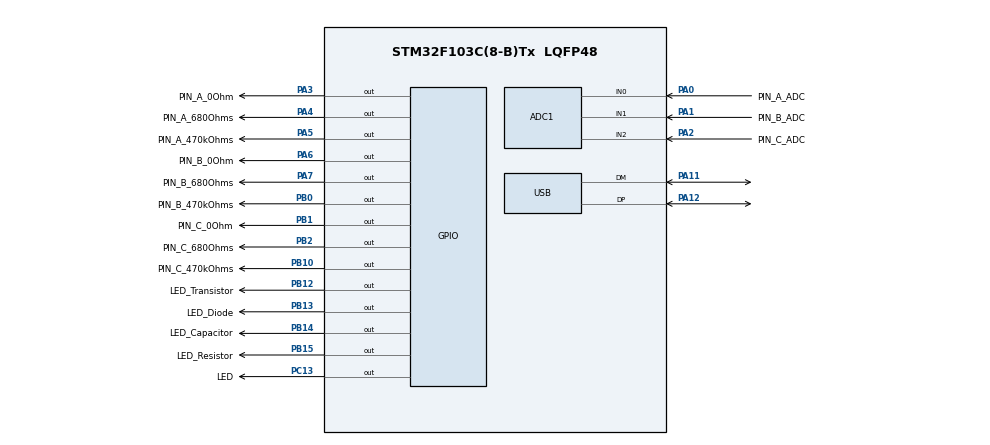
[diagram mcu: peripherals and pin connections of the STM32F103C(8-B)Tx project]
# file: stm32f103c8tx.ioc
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ADC1.Channel-4\#ChannelRegularConversion=ADC_CHANNEL_0
ADC1.Channel-5\#ChannelRegularConversion=ADC_CHANNEL_1
ADC1.Channel-6\#ChannelRegularConversion=ADC_CHANNEL_2
ADC1.EnableRegularConversion=ENABLE
ADC1.NbrOfConversion=3
ADC1.NbrOfConversionFlag=1
ADC1.Rank-4\#ChannelRegularConversion=1
ADC1.Rank-5\#ChannelRegularConversion=2
ADC1.Rank-6\#ChannelRegularConversion=3
ADC1.SamplingTime-4\#ChannelRegularConversion=ADC_SAMPLETIME_1CYCLE_5
ADC1.SamplingTime-5\#ChannelRegularConversion=ADC_SAMPLETIME_1CYCLE_5
ADC1.SamplingTime-6\#ChannelRegularConversion=ADC_SAMPLETIME_1CYCLE_5
ADC1.master=1
Mcu.Family=STM32F1
Mcu.Name=STM32F103C(8-B)Tx
Mcu.Package=LQFP48
NVIC.PriorityGroup=NVIC_PRIORITYGROUP_4
NVIC.TIM3_IRQn=true\:3\:0\:true\:false\:true\:true\:true\:true
NVIC.USB_LP_CAN1_RX0_IRQn=true\:1\:0\:true\:false\:true\:false\:true\:true
PA0-WKUP.GPIO_Label=PIN_A_ADC
PA0-WKUP.Signal=ADCx_IN0
PA1.GPIO_Label=PIN_B_ADC
PA1.Signal=ADCx_IN1
PA11.Mode=Device
PA11.Signal=USB_DM
PA12.Mode=Device
PA12.Signal=USB_DP
PA13.Mode=Serial_Wire
PA13.Signal=SYS_JTMS-SWDIO
PA14.Mode=Serial_Wire
PA14.Signal=SYS_JTCK-SWCLK
PA2.GPIO_Label=PIN_C_ADC
PA2.Signal=ADCx_IN2
PA3.GPIO_Label=PIN_A_0Ohm
PA3.GPIO_ModeDefaultOutputPP=GPIO_MODE_OUTPUT_OD
PA3.GPIO_PuPd=GPIO_NOPULL
PA3.GPIO_Speed=GPIO_SPEED_FREQ_LOW
PA3.PinState=GPIO_PIN_RESET
PA3.Signal=GPIO_Output
PA4.GPIO_Label=PIN_A_680Ohms
PA4.GPIO_ModeDefaultOutputPP=GPIO_MODE_OUTPUT_OD
PA4.GPIO_PuPd=GPIO_NOPULL
PA4.GPIO_Speed=GPIO_SPEED_FREQ_LOW
PA4.PinState=GPIO_PIN_RESET
PA4.Signal=GPIO_Output
PA5.GPIO_Label=PIN_A_470kOhms
PA5.GPIO_ModeDefaultOutputPP=GPIO_MODE_OUTPUT_OD
PA5.GPIO_PuPd=GPIO_NOPULL
PA5.GPIO_Speed=GPIO_SPEED_FREQ_LOW
PA5.PinState=GPIO_PIN_RESET
PA5.Signal=GPIO_Output
PA6.GPIO_Label=PIN_B_0Ohm
PA6.GPIO_ModeDefaultOutputPP=GPIO_MODE_OUTPUT_OD
PA6.GPIO_PuPd=GPIO_NOPULL
PA6.GPIO_Speed=GPIO_SPEED_FREQ_LOW
PA6.PinState=GPIO_PIN_RESET
PA6.Signal=GPIO_Output
PA7.GPIO_Label=PIN_B_680Ohms
PA7.GPIO_ModeDefaultOutputPP=GPIO_MODE_OUTPUT_OD
PA7.GPIO_PuPd=GPIO_NOPULL
PA7.GPIO_Speed=GPIO_SPEED_FREQ_LOW
PA7.PinState=GPIO_PIN_RESET
PA7.Signal=GPIO_Output
PB0.GPIO_Label=PIN_B_470kOhms
PB0.GPIO_ModeDefaultOutputPP=GPIO_MODE_OUTPUT_OD
PB0.GPIO_PuPd=GPIO_NOPULL
PB0.GPIO_Speed=GPIO_SPEED_FREQ_LOW
PB0.PinState=GPIO_PIN_RESET
PB0.Signal=GPIO_Output
PB1.GPIO_Label=PIN_C_0Ohm
PB1.GPIO_ModeDefaultOutputPP=GPIO_MODE_OUTPUT_OD
PB1.GPIO_PuPd=GPIO_NOPULL
PB1.GPIO_Speed=GPIO_SPEED_FREQ_LOW
PB1.PinState=GPIO_PIN_RESET
PB1.Signal=GPIO_Output
PB10.GPIO_Label=PIN_C_470kOhms
PB10.GPIO_ModeDefaultOutputPP=GPIO_MODE_OUTPUT_OD
PB10.GPIO_PuPd=GPIO_NOPULL
PB10.GPIO_Speed=GPIO_SPEED_FREQ_LOW
PB10.PinState=GPIO_PIN_RESET
PB10.Signal=GPIO_Output
PB12.GPIO_Label=LED_Transistor
PB12.Signal=GPIO_Output
PB13.GPIO_Label=LED_Diode
PB13.Signal=GPIO_Output
PB14.GPIO_Label=LED_Capacitor
PB14.Signal=GPIO_Output
PB15.GPIO_Label=LED_Resistor
PB15.Signal=GPIO_Output
PB2.GPIO_Label=PIN_C_680Ohms
PB2.GPIO_ModeDefaultOutputPP=GPIO_MODE_OUTPUT_OD
PB2.GPIO_PuPd=GPIO_NOPULL
PB2.GPIO_Speed=GPIO_SPEED_FREQ_LOW
PB2.PinState=GPIO_PIN_RESET
PB2.Signal=GPIO_Output
PC13-TAMPER-RTC.GPIO_Label=LED
PC13-TAMPER-RTC.Signal=GPIO_Output
PD0-OSC_IN.Mode=HSE-External-Oscillator
PD0-OSC_IN.Signal=RCC_OSC_IN
PD1-OSC_OUT.Mode=HSE-External-Oscillator
PD1-OSC_OUT.Signal=RCC_OSC_OUT
ProjectManager.HeapSize=0x200
ProjectManager.StackSize=0x400
ProjectManager.TargetToolchain=CMake
RCC.ADCPresc=RCC_ADCPCLK2_DIV4
RCC.AHBFreq_Value=48000000
RCC.APB1CLKDivider=RCC_HCLK_DIV2
RCC.APB1Freq_Value=24000000
RCC.APB1TimFreq_Value=48000000
RCC.APB2Freq_Value=48000000
RCC.APB2TimFreq_Value=48000000
RCC.HCLKFreq_Value=48000000
RCC.PLLMUL=RCC_PLL_MUL6
RCC.SYSCLKFreq_VALUE=48000000
RCC.SYSCLKSource=RCC_SYSCLKSOURCE_PLLCLK
RCC.USBFreq_Value=48000000
SH.ADCx_IN0.0=ADC1_IN0,IN0
SH.ADCx_IN1.0=ADC1_IN1,IN1
SH.ADCx_IN2.0=ADC1_IN2,IN2
TIM3.Period=99
TIM3.Prescaler=47999
USB_DEVICE.CLASS_NAME_FS=CDC
USB_DEVICE.VirtualMode=Cdc
USB_DEVICE.VirtualModeFS=Cdc_FS
VP_TIM3_VS_ClockSourceINT.Mode=Internal
VP_USB_DEVICE_VS_USB_DEVICE_CDC_FS.Mode=CDC_FS
board=custom

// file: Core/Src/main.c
/* USER CODE BEGIN Header */
/**
 ******************************************************************************
 * @file           : main.c
 * @brief          : Main program body
 ******************************************************************************
 * @attention
 *
 * Copyright (c) 2025 STMicroelectronics.
 * All rights reserved.
 *
 * This software is licensed under terms that can be found in the LICENSE file
 * in the root directory of this software component.
 * If no LICENSE file comes with this software, it is provided AS-IS.
 *
 ******************************************************************************
 */
/* USER CODE END Header */
#include "main.h"

#include "usb_device.h"

/* USER CODE BEGIN Includes */

#include "leds.h"
#include "stm32f1xx_ll_gpio.h"
#include "stm32f1xx_ll_utils.h"
#include "tester.h"
#include "usbd_cdc_if.h"
#include "vcom_console.h"

/* USER CODE END Includes */

/* USER CODE BEGIN PV */
leds_t leds_status;
console_t console_status;
tester_t tester_status;
uint32_t tick_counter;

/* USER CODE END PV */

void SystemClock_Config(void);
static void MX_GPIO_Init(void);
static void MX_ADC1_Init(void);
static void MX_TIM3_Init(void);

/* USER CODE BEGIN 0 */
volatile bool run_console_flag = 0;

/* USER CODE END 0 */

int main(void) {

    /* MCU Configuration--------------------------------------------------------*/

    /* Reset of all peripherals, Initializes the Flash interface and the Systick. */
    HAL_Init();

    /* Configure the system clock */
    SystemClock_Config();

    /* Initialize all configured peripherals */
    MX_GPIO_Init();
    MX_USB_DEVICE_Init();
    MX_ADC1_Init();
    MX_TIM3_Init();
    /* USER CODE BEGIN 2 */

    leds_init(&leds_status);
    vcom_console_init(&console_status);

    tester_impl_init(&tester_status);

    LL_TIM_EnableIT_UPDATE(TIM3);
    LL_TIM_EnableCounter(TIM3);
    /* USER CODE END 2 */

    /* Infinite loop */
    /* USER CODE BEGIN WHILE */
    // bool run_tester = true;
    uint32_t last_toggle = 0;
    while (1) {
        if (run_console_flag) {
            vcom_console_process(&console_status);
            run_console_flag = 0;
        }
        /* USER CODE END WHILE */

        /* USER CODE BEGIN 3 */
        if (get_tick_count() - last_toggle >= 500) {
            leds_toggle(&leds_status, LED_RED);
            last_toggle = get_tick_count();
        }

#if 0
        if (tick_counter > 1000 && run_tester) {
            component_t component = tester_test_resistor(&tester_status);
            component_to_str(&component, console_tx_buffer);
            console_status.write(console_tx_buffer);
            run_tester = false;
        }
#endif
    }
    /* USER CODE END 3 */
}

void SystemClock_Config(void) {
    LL_FLASH_SetLatency(LL_FLASH_LATENCY_1);
    while (LL_FLASH_GetLatency() != LL_FLASH_LATENCY_1) {
    }
    LL_RCC_HSE_Enable();

    /* Wait till HSE is ready */
    while (LL_RCC_HSE_IsReady() != 1) {
    }
    LL_RCC_PLL_ConfigDomain_SYS(LL_RCC_PLLSOURCE_HSE_DIV_1, LL_RCC_PLL_MUL_6);
    LL_RCC_PLL_Enable();

    /* Wait till PLL is ready */
    while (LL_RCC_PLL_IsReady() != 1) {
    }
    LL_RCC_SetAHBPrescaler(LL_RCC_SYSCLK_DIV_1);
    LL_RCC_SetAPB1Prescaler(LL_RCC_APB1_DIV_2);
    LL_RCC_SetAPB2Prescaler(LL_RCC_APB2_DIV_1);
    LL_RCC_SetSysClkSource(LL_RCC_SYS_CLKSOURCE_PLL);

    /* Wait till System clock is ready */
    while (LL_RCC_GetSysClkSource() != LL_RCC_SYS_CLKSOURCE_STATUS_PLL) {
    }
    LL_SetSystemCoreClock(48000000);

    /* Update the time base */
    if (HAL_InitTick(TICK_INT_PRIORITY) != HAL_OK) {
        Error_Handler();
    }
    LL_RCC_SetADCClockSource(LL_RCC_ADC_CLKSRC_PCLK2_DIV_4);
    LL_RCC_SetUSBClockSource(LL_RCC_USB_CLKSOURCE_PLL);
}

static void MX_ADC1_Init(void) {

    LL_ADC_InitTypeDef ADC_InitStruct = {0};
    LL_ADC_CommonInitTypeDef ADC_CommonInitStruct = {0};
    LL_ADC_REG_InitTypeDef ADC_REG_InitStruct = {0};

    LL_GPIO_InitTypeDef GPIO_InitStruct = {0};

    /* Peripheral clock enable */
    LL_APB2_GRP1_EnableClock(LL_APB2_GRP1_PERIPH_ADC1);

    LL_APB2_GRP1_EnableClock(LL_APB2_GRP1_PERIPH_GPIOA);
    /**ADC1 GPIO Configuration
    PA0-WKUP   ------> ADC1_IN0
    PA1   ------> ADC1_IN1
    PA2   ------> ADC1_IN2
    */
    GPIO_InitStruct.Pin = PIN_A_ADC_Pin | PIN_B_ADC_Pin | PIN_C_ADC_Pin;
    GPIO_InitStruct.Mode = LL_GPIO_MODE_ANALOG;
    LL_GPIO_Init(GPIOA, &GPIO_InitStruct);

    /** Common config
     */
    ADC_InitStruct.DataAlignment = LL_ADC_DATA_ALIGN_RIGHT;
    ADC_InitStruct.SequencersScanMode = LL_ADC_SEQ_SCAN_ENABLE;
    LL_ADC_Init(ADC1, &ADC_InitStruct);
    ADC_CommonInitStruct.Multimode = LL_ADC_MULTI_INDEPENDENT;
    LL_ADC_CommonInit(__LL_ADC_COMMON_INSTANCE(ADC1), &ADC_CommonInitStruct);
    ADC_REG_InitStruct.TriggerSource = LL_ADC_REG_TRIG_SOFTWARE;
    ADC_REG_InitStruct.SequencerLength = LL_ADC_REG_SEQ_SCAN_ENABLE_3RANKS;
    ADC_REG_InitStruct.SequencerDiscont = LL_ADC_REG_SEQ_DISCONT_DISABLE;
    ADC_REG_InitStruct.ContinuousMode = LL_ADC_REG_CONV_SINGLE;
    ADC_REG_InitStruct.DMATransfer = LL_ADC_REG_DMA_TRANSFER_NONE;
    LL_ADC_REG_Init(ADC1, &ADC_REG_InitStruct);

    /** Configure Regular Channel
     */
    LL_ADC_REG_SetSequencerRanks(ADC1, LL_ADC_REG_RANK_1, LL_ADC_CHANNEL_0);
    LL_ADC_SetChannelSamplingTime(ADC1, LL_ADC_CHANNEL_0, LL_ADC_SAMPLINGTIME_1CYCLE_5);

    /** Configure Regular Channel
     */
    LL_ADC_REG_SetSequencerRanks(ADC1, LL_ADC_REG_RANK_2, LL_ADC_CHANNEL_1);
    LL_ADC_SetChannelSamplingTime(ADC1, LL_ADC_CHANNEL_1, LL_ADC_SAMPLINGTIME_1CYCLE_5);

    /** Configure Regular Channel
     */
    LL_ADC_REG_SetSequencerRanks(ADC1, LL_ADC_REG_RANK_3, LL_ADC_CHANNEL_2);
    LL_ADC_SetChannelSamplingTime(ADC1, LL_ADC_CHANNEL_2, LL_ADC_SAMPLINGTIME_1CYCLE_5);
}

static void MX_TIM3_Init(void) {

    LL_TIM_InitTypeDef TIM_InitStruct = {0};

    /* Peripheral clock enable */
    LL_APB1_GRP1_EnableClock(LL_APB1_GRP1_PERIPH_TIM3);

    /* TIM3 interrupt Init */
    NVIC_SetPriority(TIM3_IRQn, NVIC_EncodePriority(NVIC_GetPriorityGrouping(), 3, 0));
    NVIC_EnableIRQ(TIM3_IRQn);

    TIM_InitStruct.Prescaler = 47999;
    TIM_InitStruct.CounterMode = LL_TIM_COUNTERMODE_UP;
    TIM_InitStruct.Autoreload = 99;
    TIM_InitStruct.ClockDivision = LL_TIM_CLOCKDIVISION_DIV1;
    LL_TIM_Init(TIM3, &TIM_InitStruct);
    LL_TIM_DisableARRPreload(TIM3);
    LL_TIM_SetClockSource(TIM3, LL_TIM_CLOCKSOURCE_INTERNAL);
    LL_TIM_SetTriggerOutput(TIM3, LL_TIM_TRGO_RESET);
    LL_TIM_DisableMasterSlaveMode(TIM3);
}

static void MX_GPIO_Init(void) {
    LL_GPIO_InitTypeDef GPIO_InitStruct = {0};

    /* GPIO Ports Clock Enable */
    LL_APB2_GRP1_EnableClock(LL_APB2_GRP1_PERIPH_GPIOC);
    LL_APB2_GRP1_EnableClock(LL_APB2_GRP1_PERIPH_GPIOD);
    LL_APB2_GRP1_EnableClock(LL_APB2_GRP1_PERIPH_GPIOA);
    LL_APB2_GRP1_EnableClock(LL_APB2_GRP1_PERIPH_GPIOB);

    /**/
    LL_GPIO_ResetOutputPin(LED_GPIO_Port, LED_Pin);

    /**/
    LL_GPIO_ResetOutputPin(
        GPIOA, PIN_A_0Ohm_Pin | PIN_A_680Ohms_Pin | PIN_A_470kOhms_Pin | PIN_B_0Ohm_Pin | PIN_B_680Ohms_Pin
    );

    /**/
    LL_GPIO_ResetOutputPin(
        GPIOB, PIN_B_470kOhms_Pin | PIN_C_0Ohm_Pin | PIN_C_680Ohms_Pin | PIN_C_470kOhms_Pin | LED_Transistor_Pin |
                   LED_Diode_Pin | LED_Capacitor_Pin | LED_Resistor_Pin
    );

    /**/
    GPIO_InitStruct.Pin = LED_Pin;
    GPIO_InitStruct.Mode = LL_GPIO_MODE_OUTPUT;
    GPIO_InitStruct.Speed = LL_GPIO_SPEED_FREQ_LOW;
    GPIO_InitStruct.OutputType = LL_GPIO_OUTPUT_PUSHPULL;
    LL_GPIO_Init(LED_GPIO_Port, &GPIO_InitStruct);

    /**/
    GPIO_InitStruct.Pin = PIN_A_0Ohm_Pin | PIN_A_680Ohms_Pin | PIN_A_470kOhms_Pin | PIN_B_0Ohm_Pin | PIN_B_680Ohms_Pin;
    GPIO_InitStruct.Mode = LL_GPIO_MODE_OUTPUT;
    GPIO_InitStruct.Speed = LL_GPIO_SPEED_FREQ_LOW;
    GPIO_InitStruct.OutputType = LL_GPIO_OUTPUT_OPENDRAIN;
    LL_GPIO_Init(GPIOA, &GPIO_InitStruct);

    /**/
    GPIO_InitStruct.Pin = PIN_B_470kOhms_Pin | PIN_C_0Ohm_Pin | PIN_C_680Ohms_Pin | PIN_C_470kOhms_Pin;
    GPIO_InitStruct.Mode = LL_GPIO_MODE_OUTPUT;
    GPIO_InitStruct.Speed = LL_GPIO_SPEED_FREQ_LOW;
    GPIO_InitStruct.OutputType = LL_GPIO_OUTPUT_OPENDRAIN;
    LL_GPIO_Init(GPIOB, &GPIO_InitStruct);

    /**/
    GPIO_InitStruct.Pin = LED_Transistor_Pin | LED_Diode_Pin | LED_Capacitor_Pin | LED_Resistor_Pin;
    GPIO_InitStruct.Mode = LL_GPIO_MODE_OUTPUT;
    GPIO_InitStruct.Speed = LL_GPIO_SPEED_FREQ_LOW;
    GPIO_InitStruct.OutputType = LL_GPIO_OUTPUT_PUSHPULL;
    LL_GPIO_Init(GPIOB, &GPIO_InitStruct);

}

void Error_Handler(void) {
    __disable_irq();
    while (1) {
    }
}
